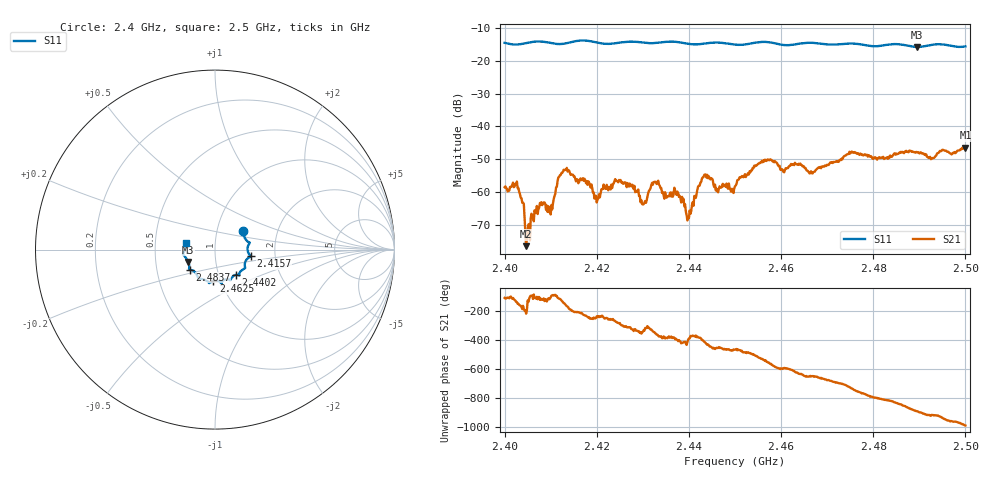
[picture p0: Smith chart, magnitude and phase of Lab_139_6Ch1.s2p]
# Hz S RI R
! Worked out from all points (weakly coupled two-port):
!   601 points, 2.4 GHz to 2.5 GHz, reference 50 ohm
!   highest |S21| = -46.50 dB at 2.5 GHz (marker M1); lowest = -76.5 dB at 2.4047 GHz (marker M2)
!   lowest |S11| = -15.7 dB at 2.4895 GHz (marker M3), VSWR 1.39, Z = 36.8 - j5.18 ohm
!   |S11| at or under -10 dB: start of sweep to end of sweep
!   S12 and S22 are empty: the file has one direction only
!   S11 on the Smith chart (normalised r, x): 2.4 GHz: 1.33, +0.29; 2.4157 GHz: 1.49, -0.11; 2.4402 GHz: 1.20, -0.35; 2.4625 GHz: 0.92, -0.34; 2.4837 GHz: 0.74, -0.17; 2.5 GHz: 0.72, +0.05
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2.4e9  0.1567 0.1057  -0.000411 -0.00111  0 0  0 0
2.402833e9  0.1662 0.0637  -0.000999 -0.00055  0 0  0 0
2.404667e9  0.1818 0.045  -0.000116 9.27e-05  0 0  0 0
2.409833e9  0.1869 0.0269  -0.000238 -0.000521  0 0  0 0
2.413e9  0.1836 -0.0119  -0.00184 -0.00112  0 0  0 0
2.415667e9  0.1985 -0.0364  -0.00138 0.000751  0 0  0 0
2.416667e9  0.2015 -0.0398  -0.00127 0.00083  0 0  0 0
2.42e9  0.1859 -0.0461  -0.000375 0.00058  0 0  0 0
2.425333e9  0.1669 -0.0951  0.000668 0.00123  0 0  0 0
2.430333e9  0.1526 -0.1128  0.000618 0.000277  0 0  0 0
2.433333e9  0.1357 -0.1332  0.00146 -0.000282  0 0  0 0
2.440167e9  0.1145 -0.1407  0.000458 -0.000252  0 0  0 0
2.4435e9  0.0903 -0.1611  0.00102 -0.00153  0 0  0 0
2.45e9  0.0641 -0.1658  -0.00036 -0.00117  0 0  0 0
2.456167e9  0.0387 -0.1915  -0.00304 -0.00015  0 0  0 0
2.4625e9  -0.00989 -0.1766  -0.000957 0.0024  0 0  0 0
2.466667e9  -0.0331 -0.1863  0.000634 0.00183  0 0  0 0
2.475333e9  -0.0908 -0.1605  0.00402 -0.00103  0 0  0 0
2.483333e9  -0.1383 -0.1121  -0.000307 -0.00342  0 0  0 0
2.483667e9  -0.1401 -0.1118  -0.000564 -0.00356  0 0  0 0
2.4895e9  -0.1484 -0.0685  -0.00401 -0.000653  0 0  0 0
2.5e9  -0.1628 0.036  -7.93e-05 0.00473  0 0  0 0
